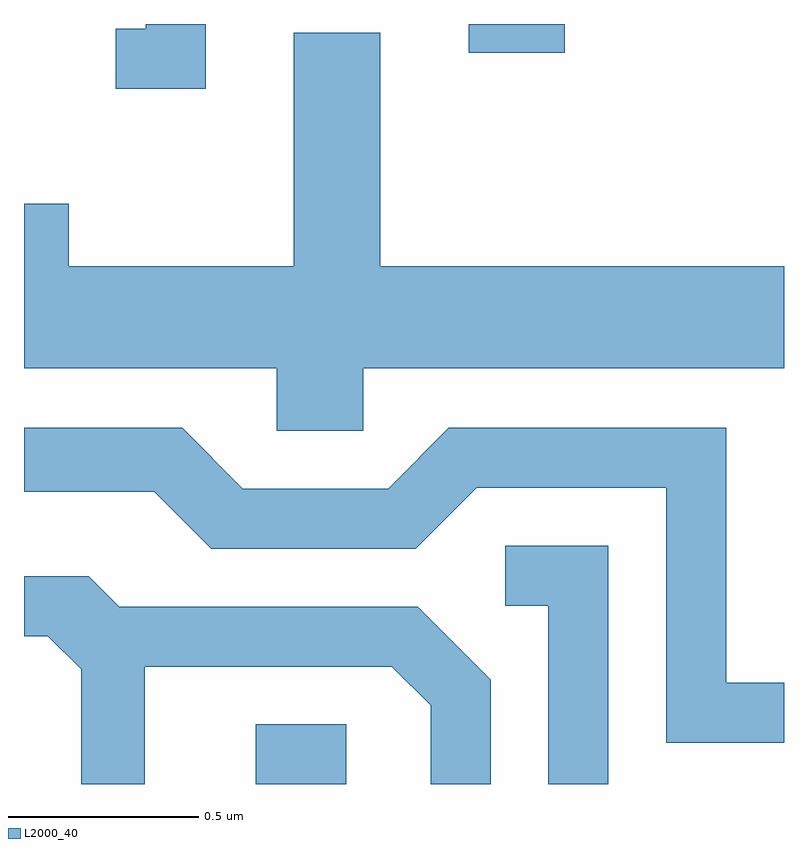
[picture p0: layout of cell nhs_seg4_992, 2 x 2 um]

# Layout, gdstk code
import gdstk
lib = gdstk.Library(unit=1e-6, precision=1e-09)
def R(c, l, rs):  # rectangles x0, y0, x1, y1
    for r in rs: c.add(gdstk.rectangle(r[:2], r[2:], *l))
def P(c, l, *ps):  # polygons
    for p in ps: c.add(gdstk.Polygon(p, *l))
L2000_40 = (2000, 40)

nhs_seg4_992 = lib.new_cell('nhs_seg4_992')
R(nhs_seg4_992, L2000_40, [(193.221,1286.982,193.459,1287.139), (193.781,1288.906,194.034,1288.982)])
P(nhs_seg4_992, L2000_40, [(193.089,1288.982),(192.931,1288.982),(192.931,1288.969),(192.853,1288.969),(192.853,1288.811),(193.089,1288.811)],
  [(193.504,1288.076),(194.611,1288.076),(194.611,1288.344),(193.549,1288.344),(193.549,1288.959),(193.321,1288.959),(193.321,1288.344),(192.729,1288.344),(192.729,1288.509),(192.611,1288.509),(192.611,1288.076),(193.276,1288.076),(193.276,1287.911),(193.504,1287.911)],
  [(194.611,1287.249),(194.459,1287.249),(194.459,1287.919),(193.729,1287.919),(193.569,1287.759),(193.187,1287.759),(193.027,1287.919),(192.611,1287.919),(192.611,1287.751),(192.954,1287.751),(193.104,1287.601),(193.642,1287.601),(193.802,1287.761),(194.301,1287.761),(194.301,1287.091),(194.611,1287.091)],
  [(194.149,1287.609),(193.878,1287.609),(193.878,1287.451),(193.991,1287.451),(193.991,1286.982),(194.149,1286.982)],
  [(192.929,1287.291),(193.579,1287.291),(193.681,1287.189),(193.681,1286.982),(193.839,1286.982),(193.839,1287.257),(193.647,1287.449),(192.862,1287.449),(192.782,1287.529),(192.611,1287.529),(192.611,1287.371),(192.674,1287.371),(192.761,1287.284),(192.761,1286.982),(192.929,1286.982)])

lib.write_gds('nhs_seg4_992.gds')
